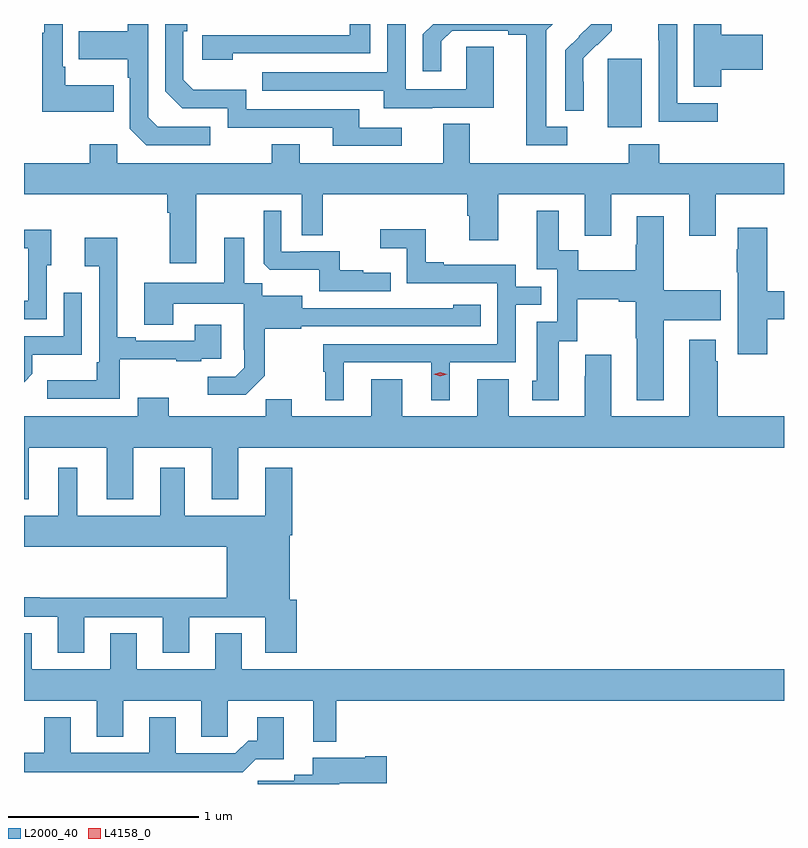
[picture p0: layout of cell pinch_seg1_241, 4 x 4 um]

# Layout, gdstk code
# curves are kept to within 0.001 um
import gdstk
lib = gdstk.Library(unit=1e-6, precision=1e-09)
def R(c, l, rs):  # rectangles x0, y0, x1, y1
    for r in rs: c.add(gdstk.rectangle(r[:2], r[2:], *l))
def P(c, l, *ps):  # polygons
    for p in ps: c.add(gdstk.Polygon(p, *l))
L2000_40 = (2000, 40)
L4158_0 = (4158, 0)

pinch_seg1_241 = lib.new_cell('pinch_seg1_241')
R(pinch_seg1_241, L2000_40, [(891.506,572.066,891.685,572.427)])
P(pinch_seg1_241, L2000_40, [(888.905,572.287),(888.649,572.287),(888.649,572.383),(888.636,572.383),(888.636,572.609),(888.539,572.609),(888.539,572.563),(888.528,572.563),(888.528,572.147),(888.905,572.147)],
  [(890.581,572.169),(890.905,572.169),(890.905,572.489),(890.76,572.489),(890.76,572.265),(890.442,572.265),(890.442,572.609),(890.346,572.609),(890.346,572.355),(889.687,572.355),(889.687,572.259),(890.327,572.259),(890.327,572.165),(890.581,572.165)],
  [(889.414,572.067),(889.137,572.067),(889.086,572.118),(889.086,572.609),(888.978,572.609),(888.978,572.571),(888.721,572.571),(888.721,572.423),(888.978,572.423),(888.978,572.327),(888.99,572.327),(888.99,572.058),(889.077,571.971),(889.414,571.971)],
  [(892.103,572.369),(892.321,572.369),(892.321,572.552),(892.103,572.552),(892.103,572.609),(891.959,572.609),(891.959,572.278),(892.103,572.278)],
  [(891.292,572.067),(891.181,572.067),(891.181,572.575),(891.215,572.609),(890.587,572.609),(890.532,572.554),(890.532,572.361),(890.629,572.361),(890.629,572.517),(890.686,572.574),(890.981,572.574),(890.981,572.552),(891.077,572.552),(891.077,571.971),(891.292,571.971)],
  [(890.422,572.064),(890.197,572.064),(890.197,572.16),(889.602,572.16),(889.602,572.263),(889.325,572.263),(889.272,572.316),(889.272,572.57),(889.292,572.57),(889.292,572.609),(889.176,572.609),(889.176,572.256),(889.266,572.166),(889.506,572.166),(889.506,572.064),(890.057,572.064),(890.057,571.968),(890.422,571.968)],
  [(892.084,572.193),(891.87,572.193),(891.87,572.609),(891.772,572.609),(891.772,572.524),(891.774,572.524),(891.774,572.095),(892.084,572.095)],
  [(891.378,572.306),(891.377,572.429),(891.447,572.499),(891.45,572.496),(891.527,572.573),(891.527,572.609),(891.419,572.609),(891.282,572.47),(891.282,572.152),(891.378,572.152)],
  [(889.532,572.454),(890.256,572.454),(890.256,572.609),(890.147,572.609),(890.147,572.55),(889.371,572.55),(889.371,572.42),(889.532,572.42)],
  [(889.339,571.712),(889.896,571.712),(889.896,571.498),(890.005,571.498),(890.005,571.712),(890.765,571.712),(890.765,571.599),(890.777,571.599),(890.777,571.47),(890.929,571.47),(890.929,571.712),(891.383,571.712),(891.383,571.494),(891.523,571.494),(891.523,571.712),(891.935,571.712),(891.935,571.494),(892.075,571.494),(892.075,571.712),(892.433,571.712),(892.433,571.876),(891.776,571.876),(891.776,571.975),(891.616,571.975),(891.616,571.876),(890.779,571.876),(890.779,572.084),(890.639,572.084),(890.639,571.876),(889.885,571.876),(889.885,571.975),(889.738,571.975),(889.738,571.876),(888.924,571.876),(888.924,571.975),(888.778,571.975),(888.778,571.876),(888.433,571.876),(888.433,571.712),(889.187,571.712),(889.187,571.616),(889.199,571.616),(889.199,571.35),(889.339,571.35)],
  [(890.363,571.3),(890.219,571.3),(890.219,571.312),(890.096,571.312),(890.096,571.413),(889.888,571.413),(889.888,571.41),(889.788,571.41),(889.788,571.627),(889.695,571.627),(889.695,571.347),(889.727,571.316),(889.986,571.316),(889.986,571.203),(890.363,571.203)],
  [(891.799,571.049),(892.099,571.049),(892.099,571.207),(891.799,571.207),(891.799,571.597),(891.659,571.597),(891.659,571.446),(891.652,571.446),(891.652,571.312),(891.349,571.312),(891.349,571.418),(891.247,571.418),(891.247,571.627),(891.131,571.627),(891.131,571.317),(891.24,571.317),(891.24,571.041),(891.131,571.041),(891.131,570.732),(891.107,570.732),(891.107,570.63),(891.247,570.63),(891.247,570.938),(891.345,570.938),(891.345,571.16),(891.563,571.16),(891.563,571.148),(891.652,571.148),(891.652,570.955),(891.659,570.955),(891.659,570.629),(891.799,570.629)],
  [(892.345,571.055),(892.433,571.055),(892.433,571.202),(892.345,571.202),(892.345,571.537),(892.19,571.537),(892.19,571.424),(892.183,571.424),(892.183,571.303),(892.19,571.303),(892.19,570.87),(892.345,570.87)],
  [(890.116,570.828),(890.576,570.828),(890.576,570.629),(890.674,570.629),(890.674,570.828),(891.021,570.828),(891.021,571.131),(891.155,571.131),(891.155,571.227),(891.021,571.227),(891.021,571.341),(890.641,571.341),(890.641,571.354),(890.547,571.354),(890.547,571.529),(890.307,571.529),(890.307,571.43),(890.448,571.43),(890.448,571.245),(890.925,571.245),(890.925,570.924),(890.007,570.924),(890.007,570.78),(890.018,570.78),(890.018,570.629),(890.116,570.629)],
  [(888.552,571.338),(888.577,571.338),(888.577,571.526),(888.433,571.526),(888.433,571.428),(888.456,571.428),(888.456,571.152),(888.433,571.152),(888.433,571.056),(888.552,571.056)],
  [(889.701,570.759),(889.701,571.005),(889.893,571.005),(889.893,571.017),(890.836,571.017),(890.836,571.132),(890.691,571.132),(890.691,571.114),(889.897,571.113),(889.897,571.18),(889.686,571.18),(889.686,571.244),(889.591,571.244),(889.591,571.483),(889.487,571.483),(889.487,571.246),(889.067,571.246),(889.067,571.027),(889.219,571.027),(889.219,571.136),(889.59,571.136),(889.59,570.895),(889.592,570.895),(889.592,570.8),(889.545,570.753),(889.401,570.753),(889.401,570.659),(889.601,570.659)],
  [(888.937,570.845),(889.235,570.845),(889.235,570.834),(889.367,570.834),(889.367,570.846),(889.471,570.846),(889.471,571.027),(889.331,571.027),(889.331,570.942),(889.021,570.942),(889.021,570.961),(888.925,570.961),(888.925,571.483),(888.753,571.483),(888.753,571.334),(888.828,571.334),(888.828,570.829),(888.816,570.829),(888.816,570.733),(888.555,570.733),(888.555,570.636),(888.937,570.636)],
  [(888.477,570.767),(888.477,570.869),(888.738,570.869),(888.738,571.195),(888.642,571.195),(888.642,570.966),(888.433,570.966),(888.433,570.723)],
  [(888.457,570.38),(888.869,570.38),(888.869,570.107),(889.009,570.107),(889.009,570.38),(889.421,570.38),(889.421,570.107),(889.561,570.107),(889.561,570.38),(892.433,570.38),(892.433,570.544),(892.083,570.544),(892.083,570.833),(892.075,570.833),(892.075,570.946),(891.935,570.946),(891.935,570.544),(891.523,570.544),(891.523,570.868),(891.386,570.868),(891.386,570.755),(891.383,570.755),(891.383,570.544),(890.983,570.544),(890.983,570.739),(890.819,570.739),(890.819,570.544),(890.425,570.544),(890.425,570.739),(890.261,570.739),(890.261,570.544),(889.843,570.544),(889.843,570.635),(889.705,570.635),(889.705,570.544),(889.195,570.544),(889.195,570.643),(889.031,570.643),(889.031,570.544),(888.433,570.544),(888.433,570.107),(888.457,570.107)],
  [(888.751,569.487),(889.163,569.487),(889.163,569.301),(889.303,569.301),(889.303,569.487),(889.703,569.487),(889.703,569.301),(889.868,569.301),(889.868,569.58),(889.831,569.58),(889.831,569.918),(889.844,569.918),(889.844,570.274),(889.703,570.274),(889.703,570.022),(889.279,570.022),(889.279,570.274),(889.151,570.274),(889.151,570.022),(888.712,570.022),(888.712,570.274),(888.614,570.274),(888.614,570.022),(888.433,570.022),(888.433,569.858),(889.499,569.858),(889.499,569.588),(888.515,569.588),(888.515,569.591),(888.433,569.591),(888.433,569.49),(888.611,569.49),(888.611,569.301),(888.751,569.301)],
  [(890.077,569.048),(892.433,569.048),(892.433,569.212),(889.579,569.212),(889.579,569.402),(889.439,569.402),(889.439,569.212),(889.027,569.212),(889.027,569.402),(888.887,569.402),(888.887,569.212),(888.475,569.212),(888.475,569.402),(888.433,569.402),(888.433,569.048),(888.815,569.048),(888.815,568.858),(888.955,568.858),(888.955,569.048),(889.367,569.048),(889.367,568.858),(889.506,568.858),(889.506,569.048),(889.955,569.048),(889.955,568.832),(890.077,568.832)],
  [(889.652,568.739),(889.801,568.739),(889.801,568.96),(889.661,568.96),(889.661,568.837),(889.612,568.837),(889.545,568.77),(889.231,568.77),(889.231,568.96),(889.091,568.96),(889.091,568.773),(888.679,568.773),(888.679,568.96),(888.539,568.96),(888.539,568.773),(888.433,568.773),(888.433,568.672),(889.327,568.672),(889.327,568.67),(889.583,568.67)],
  [(890.092,568.613),(890.341,568.613),(890.341,568.755),(890.228,568.755),(890.228,568.747),(889.952,568.747),(889.952,568.657),(889.856,568.657),(889.856,568.625),(889.662,568.625),(889.662,568.609),(890.092,568.609)])
P(pinch_seg1_241, L4158_0, [(890.625,570.755),(890.59,570.765),(890.589,570.765),(890.59,570.766),(890.625,570.776),(890.66,570.766),(890.661,570.765),(890.66,570.765)])

lib.write_gds('pinch_seg1_241.gds')
